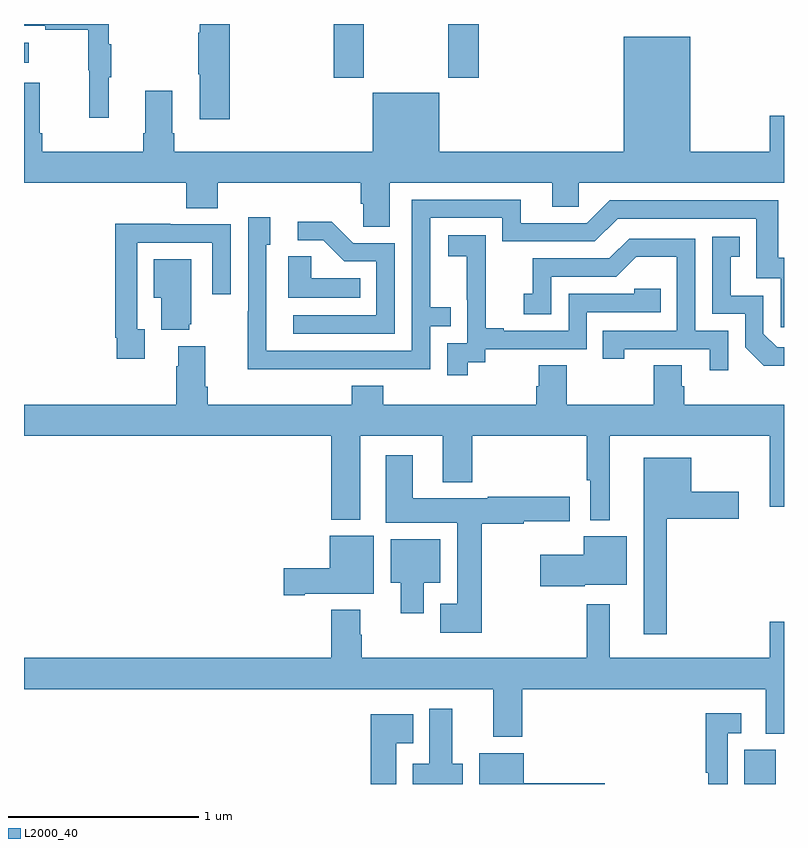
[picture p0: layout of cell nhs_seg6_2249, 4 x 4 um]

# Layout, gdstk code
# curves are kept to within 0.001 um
import gdstk
lib = gdstk.Library(unit=1e-6, precision=1e-09)
def R(c, l, rs):  # rectangles x0, y0, x1, y1
    for r in rs: c.add(gdstk.rectangle(r[:2], r[2:], *l))
def P(c, l, *ps):  # polygons
    for p in ps: c.add(gdstk.Polygon(p, *l))
L2000_40 = (2000, 40)

nhs_seg6_2249 = lib.new_cell('nhs_seg6_2249')
R(nhs_seg6_2249, L2000_40, [(248.792,949.5,248.956,949.68), (246.629,953.217,246.789,953.5), (247.234,953.217,247.394,953.5), (245,953.297,245.026,953.401)])
P(nhs_seg6_2249, L2000_40, [(246.083,953.5),(245.924,953.5),(245.924,953.453),(245.917,953.453),(245.917,953.236),(245.924,953.236),(245.924,952.998),(246.083,952.998)],
  [(245.447,953.219),(245.458,953.219),(245.458,953.393),(245.447,953.393),(245.447,953.5),(245,953.5),(245,953.49),(245.113,953.49),(245.113,953.47),(245.337,953.47),(245.337,953.256),(245.344,953.256),(245.344,953.007),(245.447,953.007)],
  [(246.925,952.664),(247.781,952.664),(247.781,952.537),(247.92,952.537),(247.92,952.664),(249,952.664),(249,953.017),(248.924,953.017),(248.924,952.828),(248.506,952.828),(248.506,953.434),(248.156,953.434),(248.156,952.828),(247.186,952.828),(247.186,953.137),(246.836,953.137),(246.836,952.828),(245.792,952.828),(245.792,952.924),(245.779,952.924),(245.779,953.149),(245.639,953.149),(245.639,952.924),(245.627,952.924),(245.627,952.828),(245.096,952.828),(245.096,952.924),(245.083,952.924),(245.083,953.191),(245,953.191),(245,952.664),(245.855,952.664),(245.855,952.531),(246.02,952.531),(246.02,952.664),(246.773,952.664),(246.773,952.555),(246.786,952.555),(246.786,952.432),(246.925,952.432)],
  [(246.641,951.684),(247.137,951.684),(247.137,951.909),(247.247,951.909),(247.247,952.01),(247.137,952.01),(247.137,952.479),(247.518,952.479),(247.518,952.356),(248.004,952.356),(248.124,952.476),(248.853,952.476),(248.853,952.161),(248.982,952.161),(248.982,951.903),(249,951.903),(249,952.27),(248.969,952.27),(248.969,952.572),(248.082,952.572),(247.962,952.452),(247.615,952.452),(247.615,952.575),(247.041,952.575),(247.041,951.78),(246.276,951.78),(246.276,952.338),(246.295,952.338),(246.295,952.483),(246.18,952.483),(246.18,951.989),(246.178,951.989),(246.178,951.683)],
  [(246.951,952.347),(246.732,952.347),(246.619,952.46),(246.441,952.46),(246.441,952.362),(246.575,952.362),(246.686,952.251),(246.855,952.251),(246.855,951.966),(246.417,951.966),(246.417,951.87),(246.951,951.87)],
  [(245.635,951.894),(245.595,951.894),(245.595,952.35),(245.991,952.35),(245.991,952.077),(246.087,952.077),(246.087,952.446),(245.771,952.446),(245.771,952.448),(245.479,952.448),(245.479,951.85),(245.487,951.85),(245.487,951.738),(245.635,951.738)],
  [(247.336,951.721),(247.428,951.721),(247.428,951.789),(247.962,951.789),(247.962,951.984),(248.351,951.984),(248.351,952.107),(248.211,952.107),(248.211,952.08),(247.866,952.08),(247.866,951.885),(247.525,951.885),(247.525,951.898),(247.43,951.898),(247.43,952.181),(247.431,952.181),(247.431,952.387),(247.233,952.387),(247.233,952.277),(247.331,952.277),(247.331,952.049),(247.332,952.049),(247.332,951.819),(247.227,951.819),(247.227,951.651),(247.336,951.651)],
  [(249,951.798),(248.964,951.798),(248.892,951.87),(248.892,952.071),(248.719,952.071),(248.719,952.275),(248.768,952.275),(248.768,952.381),(248.622,952.381),(248.622,951.975),(248.796,951.975),(248.796,951.798),(248.894,951.701),(249,951.701)],
  [(248.706,951.885),(248.532,951.885),(248.532,952.371),(248.186,952.371),(248.081,952.266),(247.678,952.266),(247.678,952.081),(247.629,952.081),(247.629,951.972),(247.776,951.972),(247.776,952.17),(248.118,952.17),(248.222,952.274),(248.436,952.274),(248.436,951.885),(248.047,951.885),(248.047,951.738),(248.158,951.738),(248.158,951.789),(248.609,951.789),(248.609,951.678),(248.706,951.678)],
  [(246.77,952.162),(246.513,952.162),(246.513,952.277),(246.392,952.277),(246.392,952.058),(246.77,952.058)],
  [(245.87,951.921),(245.881,951.921),(245.881,952.261),(245.684,952.261),(245.684,952.058),(245.723,952.058),(245.723,951.89),(245.87,951.89)],
  [(248.083,951.332),(248.924,951.332),(248.924,950.958),(249,950.958),(249,951.496),(248.474,951.496),(248.474,951.594),(248.461,951.594),(248.461,951.704),(248.314,951.704),(248.314,951.496),(247.857,951.496),(247.857,951.704),(247.709,951.704),(247.709,951.594),(247.697,951.594),(247.697,951.496),(246.89,951.496),(246.89,951.595),(246.725,951.595),(246.725,951.496),(245.966,951.496),(245.966,951.592),(245.953,951.592),(245.953,951.805),(245.813,951.805),(245.813,951.698),(245.801,951.698),(245.801,951.496),(245,951.496),(245,951.332),(246.617,951.332),(246.617,950.891),(246.769,950.891),(246.769,951.332),(247.205,951.332),(247.205,951.089),(247.358,951.089),(247.358,951.332),(247.962,951.332),(247.962,951.1),(247.979,951.1),(247.979,950.888),(248.083,950.888)],
  [(247.41,950.87),(247.629,950.87),(247.629,950.882),(247.873,950.882),(247.873,951.012),(247.441,951.012),(247.441,951.004),(247.045,951.004),(247.045,951.229),(246.905,951.229),(246.905,950.876),(247.28,950.876),(247.28,950.449),(247.19,950.449),(247.19,950.297),(247.41,950.297)],
  [(248.383,950.897),(248.761,950.897),(248.761,951.039),(248.512,951.039),(248.512,951.217),(248.261,951.217),(248.261,950.289),(248.383,950.289)],
  [(246.478,950.501),(246.841,950.501),(246.841,950.806),(246.608,950.806),(246.608,950.636),(246.366,950.636),(246.366,950.494),(246.478,950.494)],
  [(247.95,950.549),(248.173,950.549),(248.173,950.803),(247.946,950.803),(247.946,950.707),(247.716,950.707),(247.716,950.542),(247.95,950.542)],
  [(247.105,950.558),(247.192,950.558),(247.192,950.788),(246.929,950.788),(246.929,950.558),(246.983,950.558),(246.983,950.4),(247.105,950.4)],
  [(247.622,950),(248.903,950),(248.903,949.765),(249,949.765),(249,950.353),(248.924,950.353),(248.924,950.164),(248.083,950.164),(248.083,950.446),(247.962,950.446),(247.962,950.164),(246.777,950.164),(246.777,950.285),(246.769,950.285),(246.769,950.416),(246.617,950.416),(246.617,950.164),(245,950.164),(245,950),(247.469,950),(247.469,949.748),(247.622,949.748)],
  [(247.309,949.606),(247.255,949.606),(247.255,949.897),(247.133,949.897),(247.133,949.606),(247.046,949.606),(247.046,949.5),(247.309,949.5)],
  [(248.703,949.767),(248.776,949.767),(248.776,949.873),(248.587,949.873),(248.587,949.56),(248.602,949.56),(248.602,949.5),(248.703,949.5)],
  [(246.958,949.715),(247.048,949.715),(247.048,949.867),(246.824,949.867),(246.824,949.5),(246.958,949.5)],
  [(248.056,949.505),(247.63,949.505),(247.63,949.663),(247.397,949.663),(247.397,949.5),(248.056,949.5)])

lib.write_gds('nhs_seg6_2249.gds')
